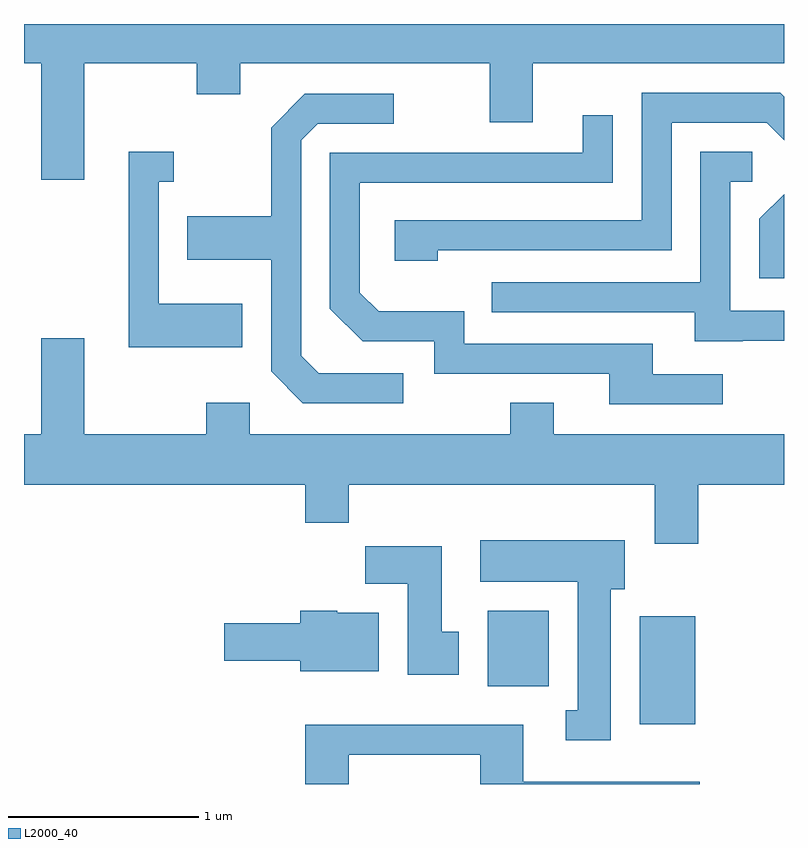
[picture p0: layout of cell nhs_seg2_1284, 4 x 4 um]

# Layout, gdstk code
import gdstk
lib = gdstk.Library(unit=1e-6, precision=1e-09)
def R(c, l, rs):  # rectangles x0, y0, x1, y1
    for r in rs: c.add(gdstk.rectangle(r[:2], r[2:], *l))
def P(c, l, *ps):  # polygons
    for p in ps: c.add(gdstk.Polygon(p, *l))
L2000_40 = (2000, 40)

nhs_seg2_1284 = lib.new_cell('nhs_seg2_1284')
R(nhs_seg2_1284, L2000_40, [(224.851,1098.116,225.144,1098.684), (224.051,1098.316,224.374,1098.714)])
P(nhs_seg2_1284, L2000_40, [(221.929,1101.596),(222.521,1101.596),(222.521,1101.431),(222.749,1101.431),(222.749,1101.596),(224.061,1101.596),(224.061,1101.286),(224.289,1101.286),(224.289,1101.596),(225.611,1101.596),(225.611,1101.802),(221.611,1101.802),(221.611,1101.596),(221.701,1101.596),(221.701,1100.981),(221.929,1100.981)],
  [(223.789,1100.611),(225.019,1100.611),(225.019,1101.281),(225.519,1101.281),(225.611,1101.189),(225.611,1101.42),(225.592,1101.439),(224.861,1101.439),(224.861,1100.769),(223.561,1100.769),(223.561,1100.556),(223.789,1100.556)],
  [(223.608,1099.964),(223.162,1099.964),(223.069,1100.057),(223.069,1101.189),(223.157,1101.276),(223.558,1101.276),(223.558,1101.434),(223.089,1101.434),(222.911,1101.257),(222.911,1100.789),(222.471,1100.789),(222.471,1100.561),(222.911,1100.561),(222.911,1099.974),(223.079,1099.806),(223.608,1099.806)],
  [(225.288,1099.959),(224.919,1099.959),(224.919,1100.119),(223.929,1100.119),(223.929,1100.289),(223.477,1100.289),(223.379,1100.387),(223.379,1100.966),(224.709,1100.966),(224.709,1101.323),(224.551,1101.323),(224.551,1101.124),(223.221,1101.124),(223.221,1100.304),(223.394,1100.131),(223.771,1100.131),(223.771,1099.961),(224.691,1099.961),(224.691,1099.801),(225.288,1099.801)],
  [(225.395,1100.136),(225.611,1100.136),(225.611,1100.294),(225.329,1100.294),(225.329,1100.971),(225.443,1100.971),(225.443,1101.129),(225.171,1101.129),(225.171,1100.444),(224.073,1100.444),(224.073,1100.286),(225.141,1100.286),(225.141,1100.131),(225.395,1100.131)],
  [(222.759,1100.329),(222.319,1100.329),(222.319,1100.971),(222.398,1100.971),(222.398,1101.129),(222.161,1101.129),(222.161,1100.101),(222.759,1100.101)],
  [(225.611,1100.906),(225.481,1100.777),(225.481,1100.463),(225.611,1100.463)],
  [(225.159,1099.376),(225.611,1099.376),(225.611,1099.644),(224.399,1099.644),(224.399,1099.809),(224.171,1099.809),(224.171,1099.644),(222.799,1099.644),(222.799,1099.809),(222.571,1099.809),(222.571,1099.644),(221.929,1099.644),(221.929,1100.149),(221.701,1100.149),(221.701,1099.644),(221.611,1099.644),(221.611,1099.376),(223.091,1099.376),(223.091,1099.176),(223.319,1099.176),(223.319,1099.376),(224.931,1099.376),(224.931,1099.066),(225.159,1099.066)],
  [(224.699,1098.826),(224.774,1098.826),(224.774,1099.084),(224.011,1099.084),(224.011,1098.866),(224.526,1098.866),(224.526,1098.189),(224.463,1098.189),(224.463,1098.031),(224.699,1098.031)],
  [(223.899,1098.604),(223.809,1098.604),(223.809,1099.054),(223.406,1099.054),(223.406,1098.856),(223.631,1098.856),(223.631,1098.376),(223.899,1098.376)],
  [(223.479,1098.704),(223.26,1098.704),(223.26,1098.714),(223.066,1098.714),(223.066,1098.649),(222.666,1098.649),(222.666,1098.451),(223.066,1098.451),(223.066,1098.396),(223.479,1098.396)],
  [(223.319,1097.956),(224.011,1097.956),(224.011,1097.802),(225.168,1097.802),(225.168,1097.814),(224.239,1097.814),(224.239,1098.114),(223.091,1098.114),(223.091,1097.802),(223.319,1097.802)])

lib.write_gds('nhs_seg2_1284.gds')
